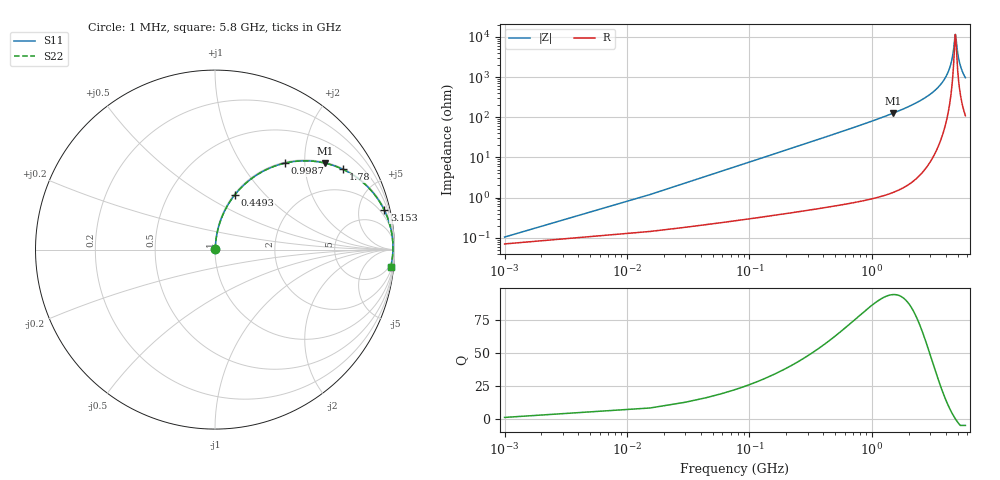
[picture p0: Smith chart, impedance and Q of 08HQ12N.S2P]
! Coilcraft 0805HQ-12N Chip Inductor
! 19 June 2002
# MHZ S MA R 50
!Freq  MagS11  AngS11  MagS21  AngS21  MagS12  AngS12  MagS22  AngS22
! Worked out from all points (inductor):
!   403 points, 1 MHz to 5.8 GHz, reference 50 ohm
!   read as one part in series: L = 12.2 nH near 29.92 MHz
!   highest Q = 94.3 at 1.49 GHz (marker M1), where L = 13.5 nH
!   self-resonance near 4.802 GHz
!   S11 on the Smith chart (normalised r, x): 1 MHz: 1.00, +0.00; 449.3 MHz: 1.01, +0.69; 998.7 MHz: 1.02, +1.60; 1.78 GHz: 1.03, +3.16; 3.153 GHz: 1.20, +8.49; 5.8 GHz: 3, -19
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1  0.001037 47.6  0.9993 -0.0  0.9993 -0.0  0.001037 47.6
44.38  0.034 84.5  0.9973 -1.9  0.9973 -1.9  0.034 84.5
73.3  0.05603 84.2  0.9959 -3.2  0.9959 -3.2  0.05603 84.2
102.22  0.07798 83.4  0.994 -4.5  0.994 -4.5  0.07798 83.4
232.36  0.1751 78.5  0.9804 -10.1  0.9804 -10.1  0.1751 78.5
449.26  0.3265 70.0  0.9397 -19.1  0.9397 -19.1  0.3265 70.0
969.82  0.6091 51.8  0.7859 -37.5  0.7859 -37.5  0.6091 51.8
998.74  0.6213 50.9  0.7764 -38.4  0.7764 -38.4  0.6213 50.9
1490.38  0.7803 38.1  0.6172 -51.3  0.6172 -51.3  0.7803 38.1
1779.58  0.8411 32.1  0.5319 -57.2  0.5319 -57.2  0.8411 32.1
1938.64  0.8671 29.2  0.4885 -60.1  0.4885 -60.1  0.8671 29.2
2907.46  0.9571 15.8  0.2721 -73.1  0.2721 -73.1  0.9571 15.8
3153.28  0.9682 13.2  0.228 -75.5  0.228 -75.5  0.9682 13.2
3876.28  0.9868 6.7  0.1161 -80.1  0.1161 -80.1  0.9868 6.7
4396.84  0.9913 2.7  0.04839 -78.3  0.04839 -78.3  0.9913 2.7
4599.28  0.9917 1.3  0.02487 -69.8  0.02487 -69.8  0.9917 1.3
4772.8  0.9915 0.2  0.009225 -22.7  0.009225 -22.7  0.9915 0.2
4845.1  0.9913 -0.3  0.00978 27.1  0.00978 27.1  0.9913 -0.3
5004.16  0.9906 -1.3  0.02368 66.1  0.02368 66.1  0.9906 -1.3
5177.68  0.9896 -2.3  0.0413 74.2  0.0413 74.2  0.9896 -2.3
5437.96  0.9874 -3.8  0.06728 77.3  0.06728 77.3  0.9874 -3.8
5800  0.9834 -5.8  0.1017 77.7  0.1017 77.7  0.9834 -5.8
